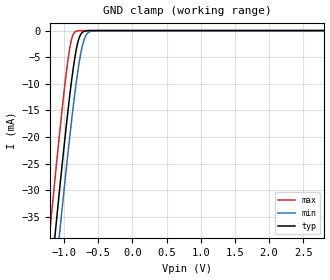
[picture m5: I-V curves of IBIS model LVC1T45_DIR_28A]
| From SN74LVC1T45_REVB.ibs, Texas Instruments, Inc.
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[Model]   LVC1T45_DIR_28A
Model_type  Input
Vinl=0.7
Vinh=1.7
| variable   typ   min   max
C_comp   3.10pF   2.52pF   4.22pF
[Temperature Range]   40   100   -40
| Ambient temperature   25   85   -40
[Voltage range]   2.8   2.8   2.8
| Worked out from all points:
|   GND clamp passes 1 mA (typ) near -0.77 V on its own axis
[GND Clamp]
| LVC1T45_DIR_28A
|   Voltage   I(typ)   I(min)   I(max)
-5.5V     -655.2mA   -662.2mA   -646.6mA
-1.205V   -48.27mA   -56.56mA   -37.63mA
-1.13V    -38.42mA   -46.71mA   -27.77mA
-1.07V    -30.71mA   -38.96mA   -20.13mA
-1.055V   -28.82mA   -37.05mA   -18.27mA
-955mV    -16.68mA   -24.66mA   -6.874mA
-885mV    -9.098mA   -16.55mA   -1.486mA
-825mV    -3.922mA   -10.26mA   -137.1uA
-780mV    -1.472mA   -6.227mA   -17.15uA
-710mV    -173.7uA   -1.918mA   -639nA
-645mV    -18.49uA   -387.7uA   -29.98nA
2.8V      5.309pA    7.956pA    5.085pA
